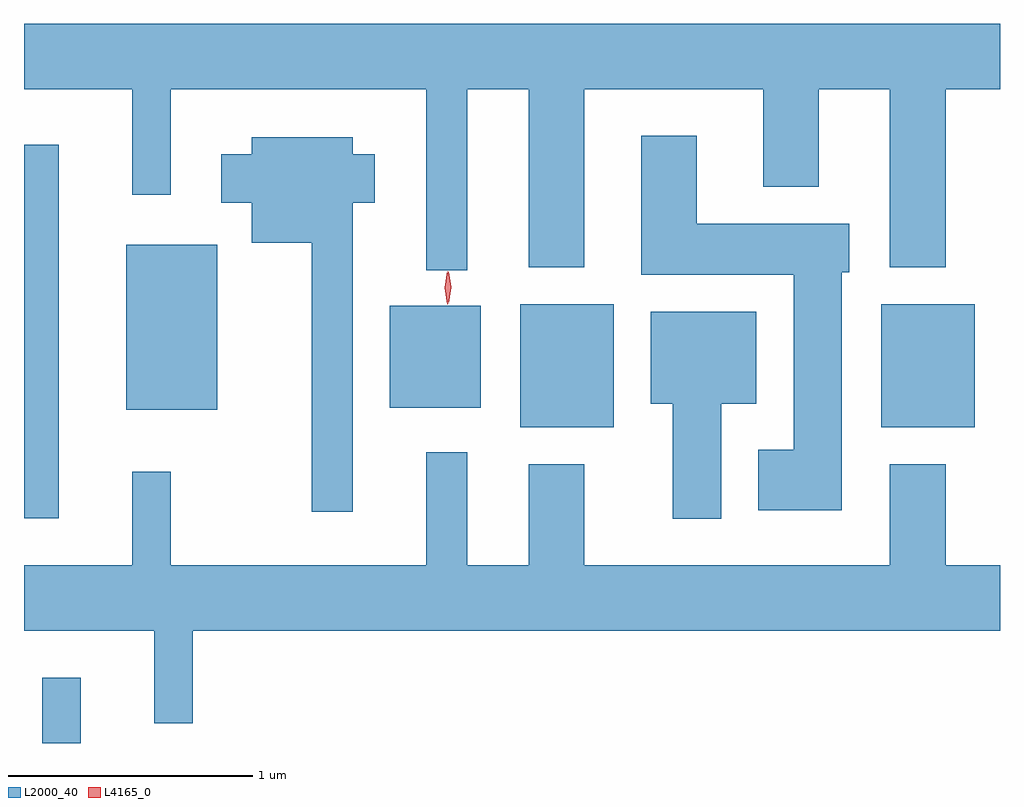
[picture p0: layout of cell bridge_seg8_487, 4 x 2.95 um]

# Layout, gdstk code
import gdstk
lib = gdstk.Library(unit=1e-6, precision=1e-09)
def R(c, l, rs):  # rectangles x0, y0, x1, y1
    for r in rs: c.add(gdstk.rectangle(r[:2], r[2:], *l))
def P(c, l, *ps):  # polygons
    for p in ps: c.add(gdstk.Polygon(p, *l))
L2000_40 = (2000, 40)
L4165_0 = (4165, 0)

bridge_seg8_487 = lib.new_cell('bridge_seg8_487')
R(bridge_seg8_487, L2000_40, [(356.886,1884.795,357.044,1885.063), (356.812,1885.718,356.954,1887.249), (358.846,1886.091,359.229,1886.594), (360.326,1886.091,360.709,1886.594), (357.231,1886.161,357.604,1886.839), (358.311,1886.171,358.684,1886.589)])
P(bridge_seg8_487, L2000_40, [(358.629,1887.476),(358.881,1887.476),(358.881,1886.746),(359.109,1886.746),(359.109,1887.476),(359.841,1887.476),(359.841,1887.076),(360.069,1887.076),(360.069,1887.476),(360.361,1887.476),(360.361,1886.746),(360.589,1886.746),(360.589,1887.476),(360.812,1887.476),(360.812,1887.744),(356.812,1887.744),(356.812,1887.476),(357.256,1887.476),(357.256,1887.043),(357.414,1887.043),(357.414,1887.476),(358.461,1887.476),(358.461,1886.733),(358.629,1886.733)],
  [(360.164,1886.726),(360.194,1886.726),(360.194,1886.924),(359.569,1886.924),(359.569,1887.284),(359.341,1887.284),(359.341,1886.716),(359.966,1886.716),(359.966,1885.999),(359.821,1885.999),(359.821,1885.751),(360.164,1885.751)],
  [(358.159,1887.011),(358.249,1887.011),(358.249,1887.209),(358.159,1887.209),(358.159,1887.279),(357.746,1887.279),(357.746,1887.209),(357.621,1887.209),(357.621,1887.011),(357.746,1887.011),(357.746,1886.846),(357.991,1886.846),(357.991,1885.743),(358.159,1885.743)],
  [(359.669,1886.186),(359.814,1886.186),(359.814,1886.564),(359.381,1886.564),(359.381,1886.186),(359.471,1886.186),(359.471,1885.716),(359.669,1885.716)],
  [(357.504,1885.256),(360.812,1885.256),(360.812,1885.524),(360.589,1885.524),(360.589,1885.939),(360.361,1885.939),(360.361,1885.524),(359.109,1885.524),(359.109,1885.939),(358.881,1885.939),(358.881,1885.524),(358.629,1885.524),(358.629,1885.988),(358.461,1885.988),(358.461,1885.524),(357.414,1885.524),(357.414,1885.908),(357.256,1885.908),(357.256,1885.524),(356.812,1885.524),(356.812,1885.256),(357.346,1885.256),(357.346,1884.878),(357.504,1884.878)])
P(bridge_seg8_487, L4165_0, [(358.547,1886.594),(358.547,1886.594),(358.537,1886.662),(358.546,1886.73),(358.546,1886.73),(358.547,1886.73),(358.557,1886.662),(358.548,1886.594)],
  [(358.552,1886.598),(358.552,1886.599),(358.542,1886.663),(358.551,1886.727),(358.552,1886.727),(358.552,1886.727),(358.562,1886.663),(358.553,1886.599)])

lib.write_gds('bridge_seg8_487.gds')
